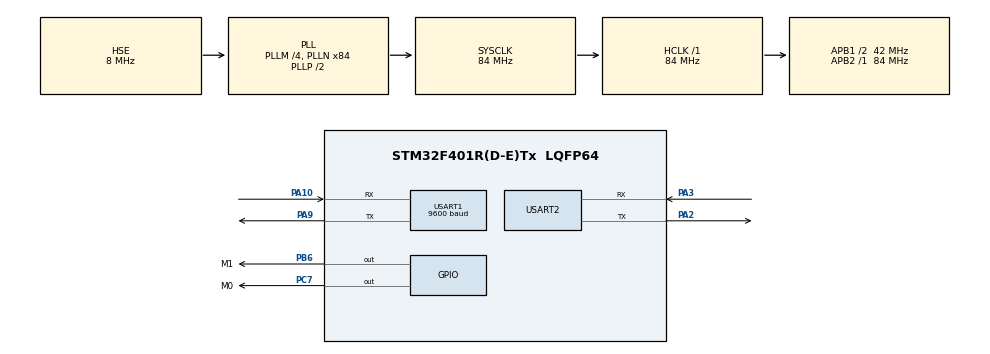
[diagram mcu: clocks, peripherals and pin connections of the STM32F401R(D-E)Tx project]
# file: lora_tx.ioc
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Mcu.Family=STM32F4
Mcu.Name=STM32F401R(D-E)Tx
Mcu.Package=LQFP64
NVIC.PriorityGroup=NVIC_PRIORITYGROUP_4
NVIC.USART1_IRQn=true\:0\:0\:false\:false\:true\:true\:true\:true
PA10.Mode=Asynchronous
PA10.Signal=USART1_RX
PA13.Mode=Serial_Wire
PA13.Signal=SYS_JTMS-SWDIO
PA14.Mode=Serial_Wire
PA14.Signal=SYS_JTCK-SWCLK
PA2.Mode=Asynchronous
PA2.Signal=USART2_TX
PA3.Mode=Asynchronous
PA3.Signal=USART2_RX
PA9.Mode=Asynchronous
PA9.Signal=USART1_TX
PB6.GPIO_Label=M1
PB6.Signal=GPIO_Output
PC7.GPIO_Label=M0
PC7.Signal=GPIO_Output
PH0\ -\ OSC_IN.Mode=HSE-External-Clock-Source
PH0\ -\ OSC_IN.Signal=RCC_OSC_IN
PH1\ -\ OSC_OUT.Mode=HSE-External-Clock-Source
PH1\ -\ OSC_OUT.Signal=RCC_OSC_OUT
ProjectManager.HeapSize=0x200
ProjectManager.StackSize=0x400
ProjectManager.TargetToolchain=STM32CubeIDE
RCC.48MHZClocksFreq_Value=42000000
RCC.AHBFreq_Value=84000000
RCC.APB1CLKDivider=RCC_HCLK_DIV2
RCC.APB1Freq_Value=42000000
RCC.APB1TimFreq_Value=84000000
RCC.APB2Freq_Value=84000000
RCC.APB2TimFreq_Value=84000000
RCC.CortexFreq_Value=84000000
RCC.HCLKFreq_Value=84000000
RCC.HSE_VALUE=8000000
RCC.HSI_VALUE=16000000
RCC.LSE_VALUE=32768
RCC.PLLM=4
RCC.PLLN=84
RCC.PLLSourceVirtual=RCC_PLLSOURCE_HSE
RCC.SYSCLKFreq_VALUE=84000000
RCC.SYSCLKSource=RCC_SYSCLKSOURCE_PLLCLK
RCC.VCOOutputFreq_Value=168000000
USART1.BaudRate=9600
USART1.VirtualMode=VM_ASYNC
USART2.VirtualMode=VM_ASYNC
board=custom

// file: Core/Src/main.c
/* USER CODE BEGIN Header */
/**
  ******************************************************************************
  * @file           : main.c
  * @brief          : Main program body
  ******************************************************************************
  * @attention
  *
  * Copyright (c) 2024 STMicroelectronics.
  * All rights reserved.
  *
  * This software is licensed under terms that can be found in the LICENSE file
  * in the root directory of this software component.
  * If no LICENSE file comes with this software, it is provided AS-IS.
  *
  ******************************************************************************
  */
/* USER CODE END Header */
#include "main.h"

UART_HandleTypeDef huart1;
UART_HandleTypeDef huart2;

void SystemClock_Config(void);
static void MX_GPIO_Init(void);
static void MX_USART1_UART_Init(void);
static void MX_USART2_UART_Init(void);

/* USER CODE BEGIN 0 */
uint8_t dato_b[20]= "Tx Inicial\n\r";
uint8_t rx;
char buffer_rx[100];
uint8_t i;
/* USER CODE END 0 */

int main(void)
{

  /* MCU Configuration--------------------------------------------------------*/

  /* Reset of all peripherals, Initializes the Flash interface and the Systick. */
  HAL_Init();

  /* Configure the system clock */
  SystemClock_Config();

  /* Initialize all configured peripherals */
  MX_GPIO_Init();
  MX_USART1_UART_Init();
  MX_USART2_UART_Init();
  /* USER CODE BEGIN 2 */
  HAL_UART_Transmit(&huart2, dato_b, sizeof(dato_b), HAL_MAX_DELAY);
  HAL_GPIO_WritePin(M0_GPIO_Port, M0_Pin,GPIO_PIN_RESET);
    HAL_GPIO_WritePin(M1_GPIO_Port, M1_Pin, GPIO_PIN_RESET);
    HAL_UART_Receive_IT(&huart2,&rx,1);
    uint8_t var = 0;
    uint8_t str_var[20];
    for (var = 0; var < 100; ++var) {

    	sprintf(str_var,"V:%02u*",var);
    	HAL_UART_Transmit(&huart1, str_var, sizeof(str_var), HAL_MAX_DELAY);
    	HAL_Delay(500);
	}
  /* USER CODE END 2 */

  /* Infinite loop */
  while (1)
  {

  }
}

void SystemClock_Config(void)
{
  RCC_OscInitTypeDef RCC_OscInitStruct = {0};
  RCC_ClkInitTypeDef RCC_ClkInitStruct = {0};

  /** Configure the main internal regulator output voltage
  */
  __HAL_RCC_PWR_CLK_ENABLE();
  __HAL_PWR_VOLTAGESCALING_CONFIG(PWR_REGULATOR_VOLTAGE_SCALE2);

  /** Initializes the RCC Oscillators according to the specified parameters
  * in the RCC_OscInitTypeDef structure.
  */
  RCC_OscInitStruct.OscillatorType = RCC_OSCILLATORTYPE_HSE;
  RCC_OscInitStruct.HSEState = RCC_HSE_BYPASS;
  RCC_OscInitStruct.PLL.PLLState = RCC_PLL_ON;
  RCC_OscInitStruct.PLL.PLLSource = RCC_PLLSOURCE_HSE;
  RCC_OscInitStruct.PLL.PLLM = 4;
  RCC_OscInitStruct.PLL.PLLN = 84;
  RCC_OscInitStruct.PLL.PLLP = RCC_PLLP_DIV2;
  RCC_OscInitStruct.PLL.PLLQ = 4;
  if (HAL_RCC_OscConfig(&RCC_OscInitStruct) != HAL_OK)
  {
    Error_Handler();
  }

  /** Initializes the CPU, AHB and APB buses clocks
  */
  RCC_ClkInitStruct.ClockType = RCC_CLOCKTYPE_HCLK|RCC_CLOCKTYPE_SYSCLK
                              |RCC_CLOCKTYPE_PCLK1|RCC_CLOCKTYPE_PCLK2;
  RCC_ClkInitStruct.SYSCLKSource = RCC_SYSCLKSOURCE_PLLCLK;
  RCC_ClkInitStruct.AHBCLKDivider = RCC_SYSCLK_DIV1;
  RCC_ClkInitStruct.APB1CLKDivider = RCC_HCLK_DIV2;
  RCC_ClkInitStruct.APB2CLKDivider = RCC_HCLK_DIV1;

  if (HAL_RCC_ClockConfig(&RCC_ClkInitStruct, FLASH_LATENCY_2) != HAL_OK)
  {
    Error_Handler();
  }
}

static void MX_USART1_UART_Init(void)
{

  huart1.Instance = USART1;
  huart1.Init.BaudRate = 9600;
  huart1.Init.WordLength = UART_WORDLENGTH_8B;
  huart1.Init.StopBits = UART_STOPBITS_1;
  huart1.Init.Parity = UART_PARITY_NONE;
  huart1.Init.Mode = UART_MODE_TX_RX;
  huart1.Init.HwFlowCtl = UART_HWCONTROL_NONE;
  huart1.Init.OverSampling = UART_OVERSAMPLING_16;
  if (HAL_UART_Init(&huart1) != HAL_OK)
  {
    Error_Handler();
  }

}

static void MX_USART2_UART_Init(void)
{

  huart2.Instance = USART2;
  huart2.Init.BaudRate = 115200;
  huart2.Init.WordLength = UART_WORDLENGTH_8B;
  huart2.Init.StopBits = UART_STOPBITS_1;
  huart2.Init.Parity = UART_PARITY_NONE;
  huart2.Init.Mode = UART_MODE_TX_RX;
  huart2.Init.HwFlowCtl = UART_HWCONTROL_NONE;
  huart2.Init.OverSampling = UART_OVERSAMPLING_16;
  if (HAL_UART_Init(&huart2) != HAL_OK)
  {
    Error_Handler();
  }

}

static void MX_GPIO_Init(void)
{
  GPIO_InitTypeDef GPIO_InitStruct = {0};

  /* GPIO Ports Clock Enable */
  __HAL_RCC_GPIOH_CLK_ENABLE();
  __HAL_RCC_GPIOA_CLK_ENABLE();
  __HAL_RCC_GPIOC_CLK_ENABLE();
  __HAL_RCC_GPIOB_CLK_ENABLE();

  /*Configure GPIO pin Output Level */
  HAL_GPIO_WritePin(M0_GPIO_Port, M0_Pin, GPIO_PIN_RESET);

  /*Configure GPIO pin Output Level */
  HAL_GPIO_WritePin(M1_GPIO_Port, M1_Pin, GPIO_PIN_RESET);

  /*Configure GPIO pin : M0_Pin */
  GPIO_InitStruct.Pin = M0_Pin;
  GPIO_InitStruct.Mode = GPIO_MODE_OUTPUT_PP;
  GPIO_InitStruct.Pull = GPIO_NOPULL;
  GPIO_InitStruct.Speed = GPIO_SPEED_FREQ_LOW;
  HAL_GPIO_Init(M0_GPIO_Port, &GPIO_InitStruct);

  /*Configure GPIO pin : M1_Pin */
  GPIO_InitStruct.Pin = M1_Pin;
  GPIO_InitStruct.Mode = GPIO_MODE_OUTPUT_PP;
  GPIO_InitStruct.Pull = GPIO_NOPULL;
  GPIO_InitStruct.Speed = GPIO_SPEED_FREQ_LOW;
  HAL_GPIO_Init(M1_GPIO_Port, &GPIO_InitStruct);

}

/* USER CODE BEGIN 4 */
void HAL_UART_RxCpltCallback(UART_HandleTypeDef *huart){

	switch (rx) {

		case 'K':
          //  bateria = atoi(buffer_rx);
			memset(buffer_rx,0,i);
			i=0;
			break;

		default:
			buffer_rx[i] =rx;
				i++;
			break;
	}

	  HAL_UART_Receive_IT(&huart2,&rx, 1);
}

/* USER CODE END 4 */

void Error_Handler(void)
{
  __disable_irq();
  while (1)
  {
  }
}
